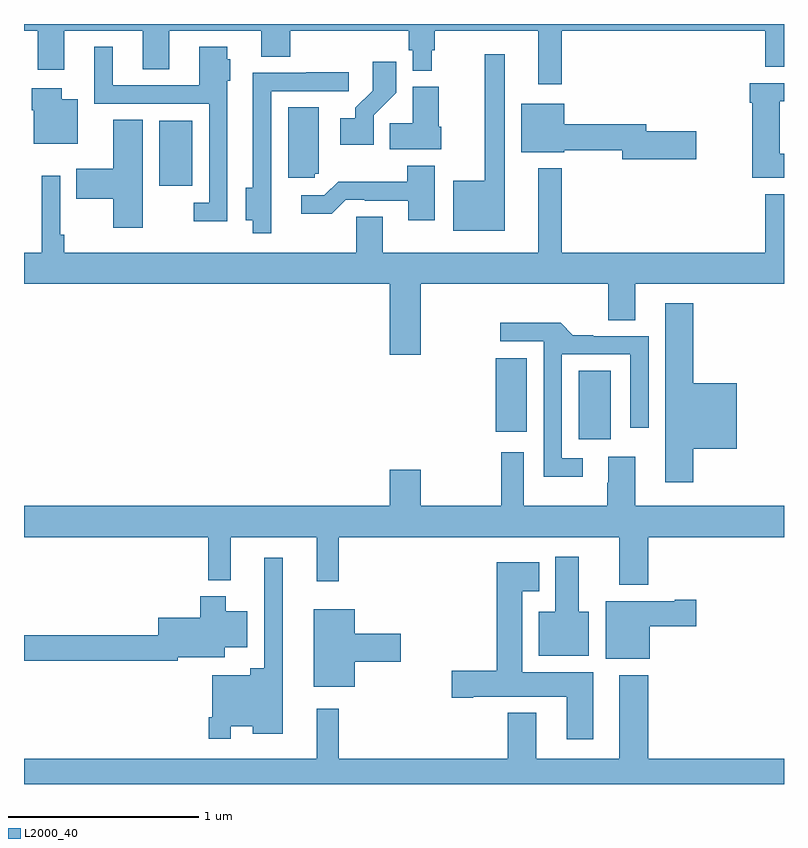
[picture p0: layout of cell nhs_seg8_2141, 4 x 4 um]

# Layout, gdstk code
import gdstk
lib = gdstk.Library(unit=1e-6, precision=1e-09)
def R(c, l, rs):  # rectangles x0, y0, x1, y1
    for r in rs: c.add(gdstk.rectangle(r[:2], r[2:], *l))
def P(c, l, *ps):  # polygons
    for p in ps: c.add(gdstk.Polygon(p, *l))
L2000_40 = (2000, 40)

nhs_seg8_2141 = lib.new_cell('nhs_seg8_2141')
R(nhs_seg8_2141, L2000_40, [(249.92,1083.714,250.087,1084.076), (249.482,1083.755,249.646,1084.141), (247.712,1085.048,247.885,1085.392)])
P(nhs_seg8_2141, L2000_40, [(249.829,1085.864),(250.901,1085.864),(250.901,1085.674),(251,1085.674),(251,1085.9),(247,1085.9),(247,1085.864),(247.073,1085.864),(247.073,1085.658),(247.213,1085.658),(247.213,1085.864),(247.625,1085.864),(247.625,1085.662),(247.765,1085.662),(247.765,1085.864),(248.249,1085.864),(248.249,1085.728),(248.402,1085.728),(248.402,1085.864),(249.025,1085.864),(249.025,1085.763),(249.045,1085.763),(249.045,1085.654),(249.146,1085.654),(249.146,1085.763),(249.161,1085.763),(249.161,1085.864),(249.707,1085.864),(249.707,1085.583),(249.829,1085.583)],
  [(248.07,1085.122),(248.071,1085.122),(248.071,1085.601),(248.086,1085.601),(248.086,1085.715),(248.071,1085.715),(248.071,1085.779),(247.922,1085.779),(247.922,1085.577),(247.468,1085.577),(247.468,1085.779),(247.37,1085.779),(247.37,1085.481),(247.974,1085.481),(247.974,1084.959),(247.893,1084.959),(247.893,1084.862),(248.07,1084.862)],
  [(249.529,1085.74),(249.425,1085.74),(249.425,1085.074),(249.26,1085.074),(249.26,1084.811),(249.529,1084.811)],
  [(248.841,1085.419),(248.96,1085.538),(248.96,1085.701),(248.835,1085.701),(248.835,1085.549),(248.744,1085.459),(248.744,1085.404),(248.664,1085.404),(248.664,1085.264),(248.841,1085.264)],
  [(248.302,1085.022),(248.301,1085.022),(248.301,1085.547),(248.71,1085.547),(248.71,1085.646),(248.485,1085.646),(248.485,1085.643),(248.204,1085.643),(248.204,1085.039),(248.168,1085.039),(248.168,1084.868),(248.204,1084.868),(248.204,1084.8),(248.302,1084.8)],
  [(251,1085.218),(250.978,1085.218),(250.978,1085.493),(251,1085.493),(251,1085.589),(250.82,1085.589),(250.82,1085.486),(250.832,1085.486),(250.832,1085.09),(251,1085.09)],
  [(249.196,1085.358),(249.184,1085.358),(249.184,1085.569),(249.047,1085.569),(249.047,1085.378),(248.926,1085.378),(248.926,1085.24),(249.196,1085.24)],
  [(247.282,1085.503),(247.198,1085.503),(247.198,1085.563),(247.04,1085.563),(247.04,1085.445),(247.052,1085.445),(247.052,1085.27),(247.282,1085.27)],
  [(250.537,1085.336),(250.276,1085.336),(250.276,1085.372),(249.844,1085.372),(249.844,1085.479),(249.617,1085.479),(249.617,1085.225),(249.844,1085.225),(249.844,1085.236),(250.148,1085.236),(250.148,1085.189),(250.537,1085.189)],
  [(248.529,1085.112),(248.551,1085.112),(248.551,1085.461),(248.39,1085.461),(248.39,1085.091),(248.529,1085.091)],
  [(247.624,1085.396),(247.469,1085.396),(247.469,1085.137),(247.276,1085.137),(247.276,1084.979),(247.469,1084.979),(247.469,1084.827),(247.624,1084.827)],
  [(249.163,1085.155),(249.016,1085.155),(249.016,1085.071),(248.653,1085.071),(248.58,1084.998),(248.46,1084.998),(248.46,1084.901),(248.621,1084.901),(248.694,1084.974),(248.794,1084.974),(248.794,1084.971),(249.023,1084.971),(249.023,1084.866),(249.163,1084.866)],
  [(250.076,1084.342),(250.216,1084.342),(250.216,1084.532),(251,1084.532),(251,1085.005),(250.901,1085.005),(250.901,1084.696),(249.829,1084.696),(249.829,1085.14),(249.707,1085.14),(249.707,1084.696),(248.887,1084.696),(248.887,1084.886),(248.748,1084.886),(248.748,1084.696),(247.211,1084.696),(247.211,1084.792),(247.191,1084.792),(247.191,1085.101),(247.094,1085.101),(247.094,1084.696),(247,1084.696),(247,1084.532),(248.924,1084.532),(248.924,1084.158),(249.088,1084.158),(249.088,1084.532),(250.076,1084.532)],
  [(250.523,1083.665),(250.75,1083.665),(250.75,1084.009),(250.523,1084.009),(250.523,1084.429),(250.376,1084.429),(250.376,1083.489),(250.523,1083.489)],
  [(249.94,1083.615),(249.831,1083.615),(249.831,1084.161),(250.191,1084.161),(250.191,1083.774),(250.287,1083.774),(250.287,1084.257),(249.997,1084.257),(249.997,1084.262),(249.889,1084.262),(249.824,1084.328),(249.507,1084.328),(249.507,1084.23),(249.735,1084.23),(249.735,1083.518),(249.94,1083.518)],
  [(250.286,1083.2),(251,1083.2),(251,1083.364),(250.216,1083.364),(250.216,1083.622),(250.076,1083.622),(250.076,1083.485),(250.069,1083.485),(250.069,1083.364),(249.631,1083.364),(249.631,1083.646),(249.511,1083.646),(249.511,1083.364),(249.088,1083.364),(249.088,1083.553),(248.924,1083.553),(248.924,1083.364),(247,1083.364),(247,1083.2),(247.969,1083.2),(247.969,1082.972),(248.087,1082.972),(248.087,1083.2),(248.54,1083.2),(248.54,1082.967),(248.657,1082.967),(248.657,1083.2),(250.133,1083.2),(250.133,1082.948),(250.286,1082.948)],
  [(249.973,1082.806),(249.919,1082.806),(249.919,1083.097),(249.797,1083.097),(249.797,1082.806),(249.71,1082.806),(249.71,1082.576),(249.973,1082.576)],
  [(248.088,1082.204),(248.204,1082.204),(248.204,1082.165),(248.362,1082.165),(248.362,1083.091),(248.265,1083.091),(248.265,1082.509),(248.192,1082.509),(248.192,1082.473),(247.992,1082.473),(247.992,1082.251),(247.972,1082.251),(247.972,1082.139),(248.088,1082.139)],
  [(249.997,1082.488),(249.622,1082.488),(249.622,1082.915),(249.712,1082.915),(249.712,1083.067),(249.488,1083.067),(249.488,1082.495),(249.252,1082.495),(249.252,1082.353),(249.364,1082.353),(249.364,1082.36),(249.857,1082.36),(249.857,1082.136),(249.997,1082.136)],
  [(247.81,1082.567),(248.056,1082.567),(248.056,1082.621),(248.176,1082.621),(248.176,1082.809),(248.062,1082.809),(248.062,1082.887),(247.928,1082.887),(247.928,1082.776),(247.706,1082.776),(247.706,1082.684),(247,1082.684),(247,1082.548),(247.81,1082.548)],
  [(250.294,1082.729),(250.537,1082.729),(250.537,1082.871),(250.424,1082.871),(250.424,1082.863),(250.061,1082.863),(250.061,1082.558),(250.294,1082.558)],
  [(248.74,1082.543),(248.983,1082.543),(248.983,1082.69),(248.74,1082.69),(248.74,1082.821),(248.525,1082.821),(248.525,1082.411),(248.74,1082.411)],
  [(251,1082.032),(250.286,1082.032),(250.286,1082.473),(250.133,1082.473),(250.133,1082.032),(249.697,1082.032),(249.697,1082.275),(249.545,1082.275),(249.545,1082.032),(248.657,1082.032),(248.657,1082.296),(248.54,1082.296),(248.54,1082.032),(247,1082.032),(247,1081.9),(251,1081.9)])

lib.write_gds('nhs_seg8_2141.gds')
